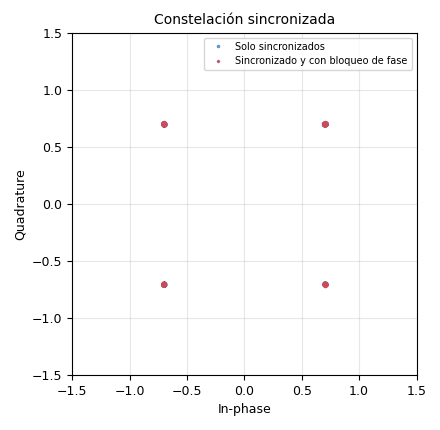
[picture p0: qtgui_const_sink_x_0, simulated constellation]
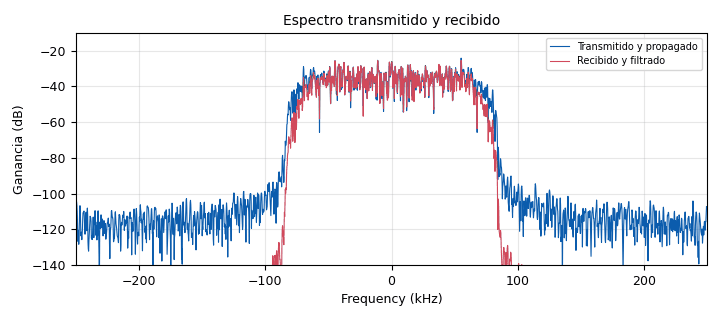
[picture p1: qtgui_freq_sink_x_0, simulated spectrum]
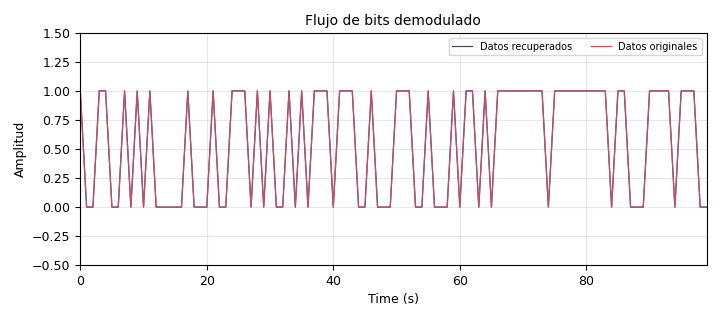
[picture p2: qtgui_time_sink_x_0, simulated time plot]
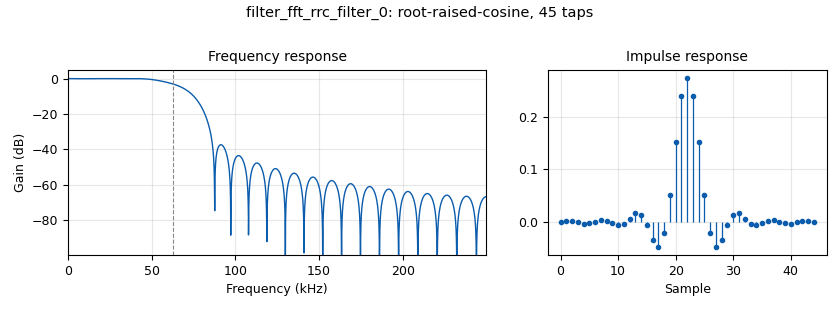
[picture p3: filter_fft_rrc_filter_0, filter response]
options:
  parameters:
    author: Juan Gerez
    category: Custom
    generate_options: qt_gui
    id: medidor_ber
    output_language: python
    title: medidor_ber
  states: {}

blocks:
- name: delay
  id: variable_qtgui_range
  parameters:
    gui_hint: 1,10,1,10
    label: Delay
    start: '0'
    step: '1'
    stop: '1000'
    value: '52'
  states: {}
- name: epsilon
  id: variable_qtgui_range
  parameters:
    gui_hint: 0,10,1,10
    label: 'Channel: Timing Offset'
    start: '0.999'
    step: '0.0001'
    stop: '1.001'
    value: '1'
  states: {}
- name: excess_bw
  id: variable
  parameters:
    value: '0.35'
  states: {}
- name: freq_offset
  id: variable_qtgui_range
  parameters:
    gui_hint: 1,0,1,10
    label: 'Channel: Frequency Offset'
    start: '-0.1'
    step: '0.001'
    stop: '0.1'
    value: '0'
  states: {}
- name: noise_volt
  id: variable_qtgui_range
  parameters:
    gui_hint: 0,0,1,10
    label: 'Channel: Noise Voltage'
    start: '0'
    step: '0.01'
    stop: '1'
    value: '0'
  states: {}
- name: phase_bw
  id: variable
  parameters:
    value: '0.0628'
  states: {}
- name: qpsk
  id: variable_constellation_rect
  parameters:
    const_points: '[-0.707-0.707j, 0.707-0.707j, +0.707+0.707j, -0.707+0.707j]'
    imag_sect: '2'
    real_sect: '2'
    rot_sym: '4'
    sym_map: '[0, 1, 3, 2]'
    w_imag_sect: '1'
    w_real_sect: '1'
  states: {}
- name: samp_rate
  id: variable
  parameters:
    value: '500000'
  states: {}
- name: sps
  id: variable
  parameters:
    value: '4'
  states: {}
- name: analog_random_source_x_0
  id: analog_random_source_x
  parameters:
    max: '256'
    min: '0'
    num_samps: '30000'
    repeat: 'True'
    type: byte
  states: {}
- name: blocks_char_to_float_0_0
  id: blocks_char_to_float
  parameters:
    scale: '1'
  states: {}
- name: blocks_char_to_float_0_0_0
  id: blocks_char_to_float
  parameters:
    scale: '1'
  states: {}
- name: blocks_delay_0
  id: blocks_delay
  parameters:
    delay: int(delay)
    type: float
  states: {}
- name: blocks_delay_1
  id: blocks_delay
  parameters:
    delay: int(delay)
    type: byte
  states: {}
- name: blocks_throttle2_0
  id: blocks_throttle2
  parameters:
    samples_per_second: samp_rate
    type: complex
  states: {}
- name: blocks_unpack_k_bits_bb_0
  id: blocks_unpack_k_bits_bb
  parameters:
    k: '2'
  states: {}
- name: blocks_unpack_k_bits_bb_0_0
  id: blocks_unpack_k_bits_bb
  parameters:
    k: '8'
  states: {}
- name: channels_channel_model_0
  id: channels_channel_model
  parameters:
    epsilon: epsilon
    freq_offset: freq_offset
    noise_voltage: noise_volt
    seed: '0'
    taps: '1'
  states: {}
- name: digital_constellation_decoder_cb_0
  id: digital_constellation_decoder_cb
  parameters:
    constellation: qpsk
  states: {}
- name: digital_constellation_modulator_0
  id: digital_constellation_modulator
  parameters:
    constellation: qpsk
    differential: 'True'
    excess_bw: excess_bw
    samples_per_symbol: sps
  states: {}
- name: digital_costas_loop_cc_0
  id: digital_costas_loop_cc
  parameters:
    order: '4'
    w: phase_bw
  states: {}
- name: digital_diff_decoder_bb_0
  id: digital_diff_decoder_bb
  parameters:
    coding: digital.DIFF_DIFFERENTIAL
    modulus: '4'
  states: {}
- name: digital_map_bb_0
  id: digital_map_bb
  parameters:
    map: '[0,1,3,2]'
  states: {}
- name: digital_symbol_sync_xx_0
  id: digital_symbol_sync_xx
  parameters:
    damping: '1.0'
    loop_bw: '0.045'
    max_dev: '1.5'
    osps: '1'
    resamp_type: digital.IR_MMSE_8TAP
    sps: sps
    ted_gain: '1.0'
    ted_type: digital.TED_SIGNAL_TIMES_SLOPE_ML
    type: cc
  states: {}
- name: fec_ber_bf_0
  id: fec_ber_bf
  parameters:
    test_mode: 'False'
  states: {}
- name: filter_fft_rrc_filter_0
  id: filter_fft_rrc_filter
  parameters:
    alpha: excess_bw
    decim: '1'
    gain: '1'
    ntaps: 11*sps
    samp_rate: samp_rate
    sym_rate: samp_rate/sps
    type: ccc
  states: {}
- name: qtgui_const_sink_x_0
  id: qtgui_const_sink_x
  parameters:
    alpha2: '1'
    grid: 'True'
    gui_hint: 2,0,10,10
    label1: Solo sincronizados
    label2: Sincronizado y con bloqueo de fase
    name: Constelación sincronizada
    nconnections: '2'
    size: '1024'
    type: complex
    width2: '2'
    xmax: '1.5'
    xmin: '-1.5'
    ymax: '1.5'
    ymin: '-1.5'
  states: {}
- name: qtgui_freq_sink_x_0
  id: qtgui_freq_sink_x
  parameters:
    bw: samp_rate
    fc: '0'
    fftsize: '2048'
    gui_hint: 12,0,10,20
    label: Ganancia
    label1: Transmitido y propagado
    label2: Recibido y filtrado
    name: Espectro transmitido y recibido
    nconnections: '2'
    type: complex
    ymax: '-10'
  states: {}
- name: qtgui_number_sink_0
  id: qtgui_number_sink
  parameters:
    graph_type: qtgui.NUM_GRAPH_HORIZ
    max: '0'
    min: '-7'
    name: '"Tasa de Error (Log10 BER)"'
    type: float
  states: {}
- name: qtgui_time_sink_x_0
  id: qtgui_time_sink_x
  parameters:
    gui_hint: 2,10,10,10
    label1: Datos recuperados
    label2: Datos originales
    name: Flujo de bits demodulado
    nconnections: '2'
    size: '100'
    srate: '1'
    type: float
    ylabel: Amplitud
    ymax: '1.5'
    ymin: '-0.5'
  states: {}
- name: virtual_sink_0
  id: virtual_sink
  parameters:
    stream_id: senal_filtrada
  states: {}
- name: virtual_sink_1
  id: virtual_sink
  parameters:
    stream_id: senal_decodi
  states: {}
- name: virtual_sink_2
  id: virtual_sink
  parameters:
    stream_id: t1
  states: {}
- name: virtual_sink_3
  id: virtual_sink
  parameters:
    stream_id: senal_modulada
  states: {state: disabled}
- name: virtual_source_0
  id: virtual_source
  parameters:
    stream_id: senal_filtrada
  states: {}
- name: virtual_source_0_0
  id: virtual_source
  parameters:
    stream_id: senal_filtrada
  states: {}
- name: virtual_source_1
  id: virtual_source
  parameters:
    stream_id: senal_decodi
  states: {}
- name: virtual_source_2
  id: virtual_source
  parameters:
    stream_id: t1
  states: {}

connections:
- [analog_random_source_x_0, '0', digital_constellation_modulator_0, '0']
- [analog_random_source_x_0, '0', virtual_sink_2, '0']
- [blocks_char_to_float_0_0, '0', qtgui_time_sink_x_0, '0']
- [blocks_char_to_float_0_0_0, '0', blocks_delay_0, '0']
- [blocks_delay_0, '0', qtgui_time_sink_x_0, '1']
- [blocks_delay_1, '0', fec_ber_bf_0, '1']
- [blocks_throttle2_0, '0', channels_channel_model_0, '0']
- [blocks_unpack_k_bits_bb_0, '0', blocks_char_to_float_0_0, '0']
- [blocks_unpack_k_bits_bb_0, '0', fec_ber_bf_0, '0']
- [blocks_unpack_k_bits_bb_0_0, '0', blocks_char_to_float_0_0_0, '0']
- [blocks_unpack_k_bits_bb_0_0, '0', blocks_delay_1, '0']
- [channels_channel_model_0, '0', filter_fft_rrc_filter_0, '0']
- [channels_channel_model_0, '0', qtgui_freq_sink_x_0, '0']
- [digital_constellation_decoder_cb_0, '0', virtual_sink_1, '0']
- [digital_constellation_modulator_0, '0', blocks_throttle2_0, '0']
- [digital_constellation_modulator_0, '0', virtual_sink_3, '0']
- [digital_costas_loop_cc_0, '0', digital_constellation_decoder_cb_0, '0']
- [digital_costas_loop_cc_0, '0', qtgui_const_sink_x_0, '1']
- [digital_diff_decoder_bb_0, '0', digital_map_bb_0, '0']
- [digital_map_bb_0, '0', blocks_unpack_k_bits_bb_0, '0']
- [digital_symbol_sync_xx_0, '0', digital_costas_loop_cc_0, '0']
- [digital_symbol_sync_xx_0, '0', qtgui_const_sink_x_0, '0']
- [fec_ber_bf_0, '0', qtgui_number_sink_0, '0']
- [filter_fft_rrc_filter_0, '0', virtual_sink_0, '0']
- [virtual_source_0, '0', digital_symbol_sync_xx_0, '0']
- [virtual_source_0_0, '0', qtgui_freq_sink_x_0, '1']
- [virtual_source_1, '0', digital_diff_decoder_bb_0, '0']
- [virtual_source_2, '0', blocks_unpack_k_bits_bb_0_0, '0']

metadata:
  file_format: 1
  grc_version: 3.10.12.0
